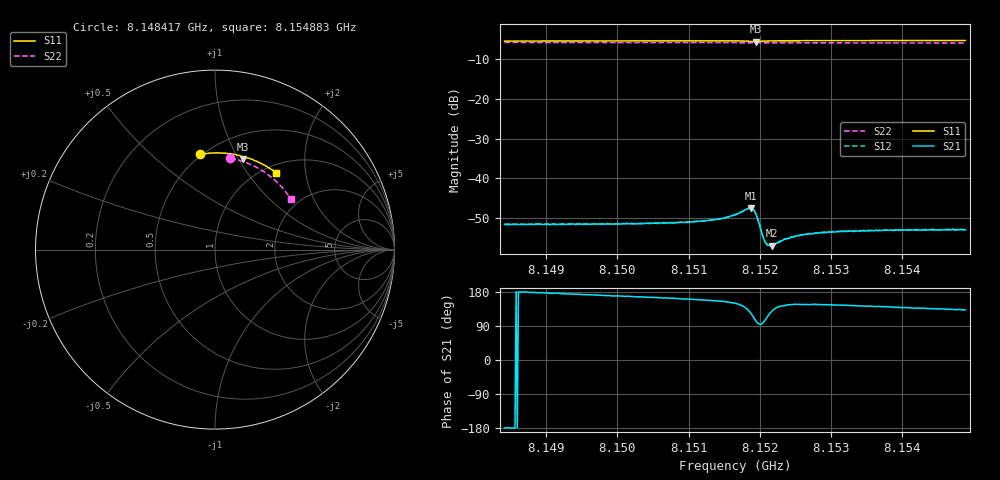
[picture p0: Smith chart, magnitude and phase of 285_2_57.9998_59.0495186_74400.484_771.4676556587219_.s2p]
#  HZ  S  RI  R  50.00
! Rohde & Schwarz Vector Network Analyzer
! Rohde-Schwarz,ZNB20-2Port,1311601062101988,3.16
! Created: UTC 3/21/2024, 1:03:03 AM
! freq[Hz]  re:S11  im:S11  re:S21  im:S21  re:S12  im:S12  re:S22  im:S22
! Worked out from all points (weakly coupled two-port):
!   401 points, 8.148417 GHz to 8.154883 GHz, reference 50 ohm
!   highest |S21| = -47.56 dB at 8.151876 GHz (marker M1); lowest = -56.9 dB at 8.152167 GHz (marker M2)
!   lowest |S11| = -5.5 dB at 8.151941 GHz (marker M3), VSWR 3.25, Z = 37.2 + j52.3 ohm
!   |S11| at or under -10 dB: nowhere
!   |S22| runs from -5.9 to -5.8 dB; largest |S21 - S12| = 0.00012
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8.1484171e9  -0.0809 0.5307  -0.00263 -4.03e-05  -0.00268 -1.9e-05  0.0859 0.5086
8.1495001e9  -0.00558 0.5387  -0.00263 0.00034  -0.00265 0.000395  0.1543 0.491
8.1505832e9  0.0699 0.536  -0.00263 0.000742  -0.00265 0.000792  0.2193 0.4643
8.1510197e9  0.1003 0.5318  -0.00266 0.000941  -0.00265 0.000995  0.2441 0.4512
8.1512783e9  0.1186 0.5283  -0.00274 0.00113  -0.00272 0.00116  0.2585 0.4428
8.1514723e9  0.1324 0.5249  -0.00284 0.00134  -0.00285 0.00138  0.2691 0.4359
8.1516501e9  0.1456 0.5206  -0.00299 0.00174  -0.00299 0.00182  0.2788 0.4297
8.1518118e9  0.1573 0.5129  -0.00293 0.00282  -0.00288 0.00291  0.2873 0.4236
8.1518765e9  0.1591 0.5078  -0.00227 0.00352  -0.0022 0.00361  0.2905 0.421
8.1519088e9  0.1583 0.5059  -0.00158 0.0037  -0.00153 0.00379  0.2921 0.4197
8.1519411e9  0.1567 0.5055  -0.000858 0.0035  -0.000812 0.00353  0.2936 0.4187
8.1519734e9  0.1561 0.5069  -0.000361 0.00296  -0.000303 0.00299  0.2951 0.4177
8.1520381e9  0.1588 0.5108  -0.000224 0.00187  -0.000216 0.00188  0.2985 0.4152
8.1520704e9  0.1614 0.5119  -0.000399 0.00154  -0.000371 0.00156  0.3002 0.4142
8.1521189e9  0.1656 0.5126  -0.000679 0.00129  -0.000654 0.00124  0.3027 0.4124
8.1521674e9  0.1697 0.5125  -0.000883 0.00112  -0.000886 0.00111  0.3052 0.4105
8.1523129e9  0.1812 0.5107  -0.00131 0.001  -0.00133 0.00101  0.3126 0.4047
8.1524422e9  0.1906 0.5079  -0.00152 0.00103  -0.00151 0.00104  0.319 0.3994
8.1527332e9  0.2107 0.501  -0.00167 0.00111  -0.00168 0.00115  0.3333 0.3872
8.1530404e9  0.2306 0.4928  -0.00172 0.00123  -0.00176 0.00121  0.3475 0.3738
8.1538163e9  0.2791 0.4686  -0.0017 0.00143  -0.00172 0.00145  0.3812 0.3377
8.1548832e9  0.3403 0.428  -0.00151 0.00167  -0.00151 0.0017  0.4212 0.2833
